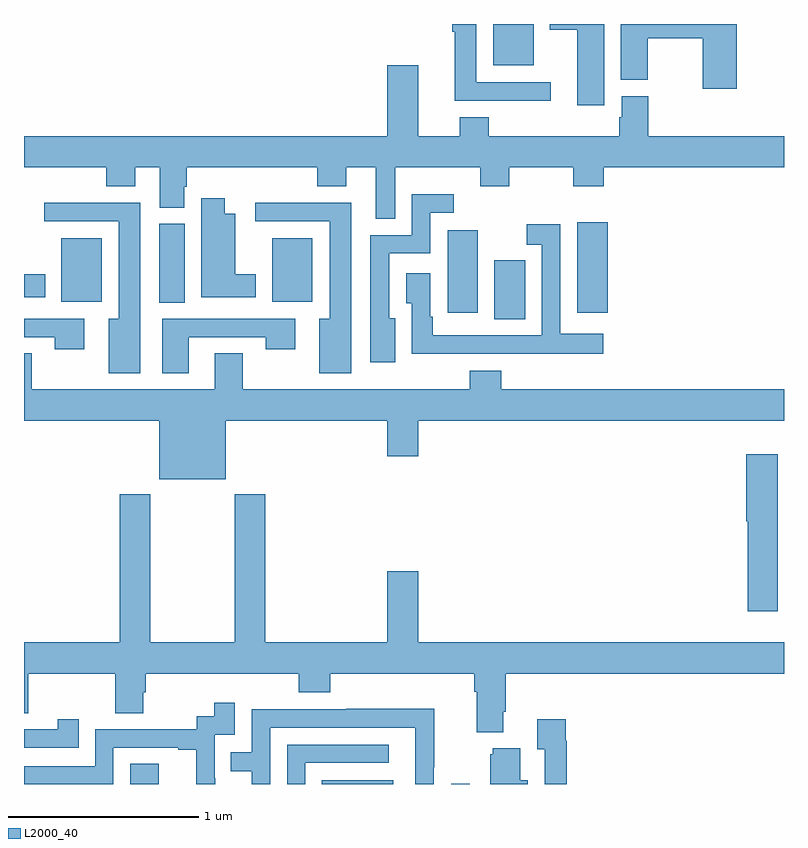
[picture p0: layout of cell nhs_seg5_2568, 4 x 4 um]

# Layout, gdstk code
import gdstk
lib = gdstk.Library(unit=1e-6, precision=1e-09)
def R(c, l, rs):  # rectangles x0, y0, x1, y1
    for r in rs: c.add(gdstk.rectangle(r[:2], r[2:], *l))
def P(c, l, *ps):  # polygons
    for p in ps: c.add(gdstk.Polygon(p, *l))
L2000_40 = (2000, 40)

nhs_seg5_2568 = lib.new_cell('nhs_seg5_2568')
R(nhs_seg5_2568, L2000_40, [(259.56,902.799,259.708,902.905), (260.566,902.799,260.944,902.818), (261.249,902.799,261.345,902.8), (261.476,905.245,261.637,905.556), (261.23,905.28,261.388,905.713), (261.911,905.28,262.072,905.755), (259.712,905.332,259.846,905.748), (259.196,905.336,259.408,905.671), (260.306,905.336,260.518,905.671), (259,905.36,259.111,905.482), (261.47,906.581,261.682,906.799)])
P(nhs_seg5_2568, L2000_40, [(261.772,906.492),(261.379,906.492),(261.379,906.799),(261.254,906.799),(261.254,906.757),(261.266,906.757),(261.266,906.395),(261.772,906.395)],
  [(262.751,906.799),(262.142,906.799),(262.142,906.505),(262.284,906.505),(262.284,906.724),(262.573,906.724),(262.573,906.459),(262.751,906.459)],
  [(262.054,906.799),(261.767,906.799),(261.767,906.77),(261.911,906.77),(261.911,906.372),(262.054,906.372)],
  [(260.953,906.044),(261.4,906.044),(261.4,905.945),(261.555,905.945),(261.555,906.044),(261.892,906.044),(261.892,905.945),(262.052,905.945),(262.052,906.044),(263,906.044),(263,906.208),(262.286,906.208),(262.286,906.42),(262.145,906.42),(262.145,906.309),(262.133,906.309),(262.133,906.208),(261.446,906.208),(261.446,906.307),(261.293,906.307),(261.293,906.208),(261.076,906.208),(261.076,906.583),(260.912,906.583),(260.912,906.208),(259,906.208),(259,906.044),(259.433,906.044),(259.433,905.945),(259.585,905.945),(259.585,906.044),(259.715,906.044),(259.715,905.833),(259.843,905.833),(259.843,905.943),(259.856,905.943),(259.856,906.044),(260.543,906.044),(260.543,905.945),(260.695,905.945),(260.695,906.044),(260.852,906.044),(260.852,905.773),(260.953,905.773)],
  [(260.953,905.251),(260.923,905.251),(260.923,905.592),(261.138,905.592),(261.138,905.805),(261.262,905.805),(261.262,905.902),(261.042,905.902),(261.042,905.688),(260.822,905.688),(260.822,905.019),(260.953,905.019)],
  [(260.221,905.482),(260.113,905.482),(260.113,905.8),(260.056,905.8),(260.056,905.881),(259.934,905.881),(259.934,905.36),(260.221,905.36)],
  [(260.722,905.858),(260.217,905.858),(260.217,905.76),(260.609,905.76),(260.609,905.248),(260.555,905.248),(260.555,904.962),(260.722,904.962)],
  [(259.612,905.858),(259.107,905.858),(259.107,905.76),(259.499,905.76),(259.499,905.248),(259.445,905.248),(259.445,904.962),(259.612,904.962)],
  [(261.263,905.064),(261.629,905.064),(261.629,905.063),(262.048,905.063),(262.048,905.17),(261.822,905.17),(261.822,905.746),(261.645,905.746),(261.645,905.637),(261.726,905.637),(261.726,905.16),(261.151,905.16),(261.151,905.257),(261.138,905.257),(261.138,905.488),(261.011,905.488),(261.011,905.329),(261.042,905.329),(261.042,905.063),(261.263,905.063)],
  [(259.867,905.151),(260.272,905.151),(260.272,905.088),(260.428,905.088),(260.428,905.247),(259.727,905.247),(259.727,904.962),(259.867,904.962)],
  [(259.318,905.247),(259,905.247),(259,905.151),(259.162,905.151),(259.162,905.088),(259.318,905.088)],
  [(260.062,904.712),(260.912,904.712),(260.912,904.524),(261.076,904.524),(261.076,904.712),(263,904.712),(263,904.876),(261.512,904.876),(261.512,904.975),(261.347,904.975),(261.347,904.876),(260.151,904.876),(260.151,905.066),(260.003,905.066),(260.003,904.876),(259.041,904.876),(259.041,905.066),(259,905.066),(259,904.712),(259.712,904.712),(259.712,904.403),(260.062,904.403)],
  [(262.966,904.534),(262.802,904.534),(262.802,904.182),(262.808,904.182),(262.808,903.708),(262.966,903.708)],
  [(259.627,903.282),(259.64,903.282),(259.64,903.38),(260.447,903.38),(260.447,903.281),(260.612,903.281),(260.612,903.38),(261.371,903.38),(261.371,903.284),(261.383,903.284),(261.383,903.071),(261.523,903.071),(261.523,903.178),(261.536,903.178),(261.536,903.38),(263,903.38),(263,903.544),(261.076,903.544),(261.076,903.919),(260.912,903.919),(260.912,903.544),(260.27,903.544),(260.27,904.324),(260.11,904.324),(260.11,903.544),(259.665,903.544),(259.665,904.324),(259.505,904.324),(259.505,903.544),(259,903.544),(259,903.172),(259.023,903.172),(259.023,903.38),(259.48,903.38),(259.48,903.172),(259.627,903.172)],
  [(259.47,902.991),(259.811,902.991),(259.811,902.979),(259.907,902.979),(259.907,902.799),(260.006,902.799),(260.006,902.828),(260.004,902.828),(260.004,903.057),(260.109,903.057),(260.109,903.226),(260.001,903.226),(260.001,903.156),(259.908,903.156),(259.908,903.087),(259.374,903.087),(259.374,902.892),(259,902.892),(259,902.799),(259.47,902.799)],
  [(260.295,903.096),(261.06,903.096),(261.06,902.799),(261.156,902.799),(261.156,902.887),(261.159,902.887),(261.159,903.194),(260.695,903.194),(260.695,903.192),(260.199,903.192),(260.199,902.967),(260.089,902.967),(260.089,902.866),(260.199,902.866),(260.199,902.799),(260.295,902.799)],
  [(259.289,903.139),(259.178,903.139),(259.178,903.087),(259,903.087),(259,902.991),(259.289,902.991)],
  [(261.857,903.026),(261.85,903.026),(261.85,903.139),(261.701,903.139),(261.701,902.983),(261.741,902.983),(261.741,902.799),(261.857,902.799)],
  [(260.481,902.91),(260.92,902.91),(260.92,903.006),(260.385,903.006),(260.385,902.799),(260.481,902.799)],
  [(261.652,902.818),(261.613,902.818),(261.613,902.986),(261.467,902.986),(261.467,902.955),(261.455,902.955),(261.455,902.799),(261.652,902.799)])

lib.write_gds('nhs_seg5_2568.gds')
